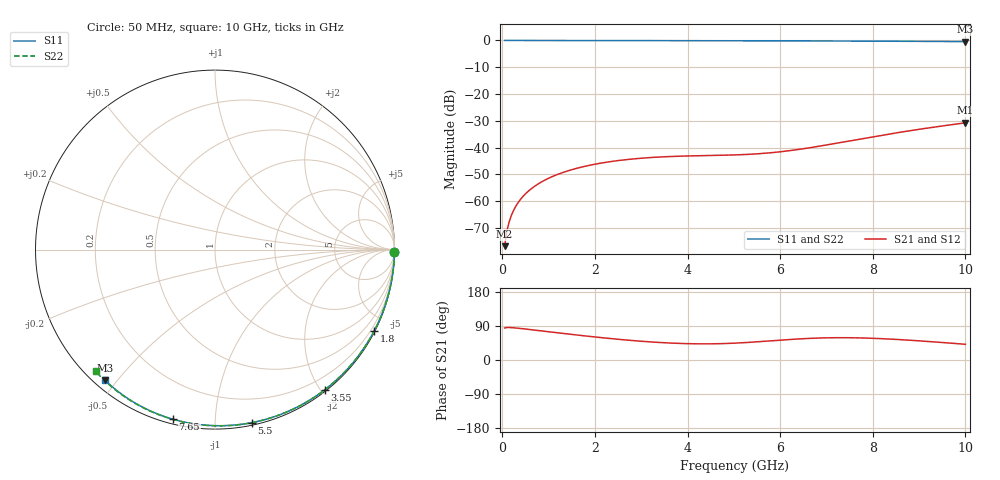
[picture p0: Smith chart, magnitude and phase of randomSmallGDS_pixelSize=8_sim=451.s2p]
! freq	dB(S11)	phase(S11)	dB(S12)	phase(S12)
!  dB(S21)	phase(S21)	dB(S22)	phase(S22)
!S-par simulation data
#  GHz  S  DB  R 50
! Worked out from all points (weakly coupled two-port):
!   200 points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, 50 MHz to 10 GHz, reference 50 ohm
!   highest |S21| = -30.75 dB at 10 GHz (marker M1); lowest = -76.8 dB at 50 MHz (marker M2)
!   lowest |S11| = -0.4 dB at 10 GHz (marker M3), VSWR 40.22, Z = 1.51 - j23.2 ohm
!   |S11| at or under -10 dB: nowhere
!   |S22| runs from -0.4 to 0.0 dB; largest |S21 - S12| = 0
!   S11 on the Smith chart (normalised r, x): 50 MHz: open; 1.8 GHz: 0.04, -4.16; 3.55 GHz: 0.02, -2.05; 5.5 GHz: 0.02, -1.24; 7.65 GHz: 0.02, -0.78; 10 GHz: 0.03, -0.46
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0.05  -0.00 -0.8  -76.80 84.6  -76.80 84.6  -0.00 -0.8
0.1  -0.00 -1.5  -71.06 85.6  -71.06 85.6  -0.00 -1.6
0.15  -0.00 -2.3  -67.61 85.7  -67.61 85.7  -0.00 -2.4
0.2  -0.00 -3.1  -65.14 85.4  -65.14 85.4  -0.00 -3.2
0.25  -0.00 -3.8  -63.22 84.9  -63.22 84.9  -0.00 -4.0
0.35  -0.00 -5.3  -60.32 83.8  -60.32 83.8  -0.00 -5.5
0.5  -0.01 -7.6  -57.27 81.8  -57.27 81.8  -0.01 -7.9
0.7  -0.01 -10.6  -54.41 78.9  -54.41 78.9  -0.01 -11.0
1  -0.02 -15.1  -51.44 74.6  -51.44 74.6  -0.02 -15.7
1.35  -0.03 -20.4  -49.05 69.6  -49.05 69.6  -0.03 -21.1
1.75  -0.03 -26.3  -47.12 64.0  -47.12 64.0  -0.03 -27.3
1.8  -0.03 -27.0  -46.92 63.4  -46.92 63.4  -0.04 -28.0
2.5  -0.05 -37.2  -44.84 54.7  -44.84 54.7  -0.05 -38.6
3.4  -0.07 -50.0  -43.51 46.2  -43.51 46.2  -0.07 -51.8
3.55  -0.07 -52.0  -43.38 45.2  -43.38 45.2  -0.07 -53.9
4.3  -0.09 -62.3  -43.01 42.6  -43.01 42.6  -0.09 -64.4
5.05  -0.11 -72.2  -42.72 44.6  -42.72 44.6  -0.11 -74.6
5.5  -0.13 -77.9  -42.33 47.9  -42.33 47.9  -0.13 -80.6
6.7  -0.18 -92.7  -39.88 57.4  -39.88 57.4  -0.18 -95.8
7.65  -0.23 -103.9  -37.03 58.5  -37.03 58.5  -0.24 -107.3
8.35  -0.28 -111.9  -34.95 55.4  -34.95 55.4  -0.29 -115.6
10  -0.43 -130.2  -30.75 41.5  -30.75 41.5  -0.45 -134.4
